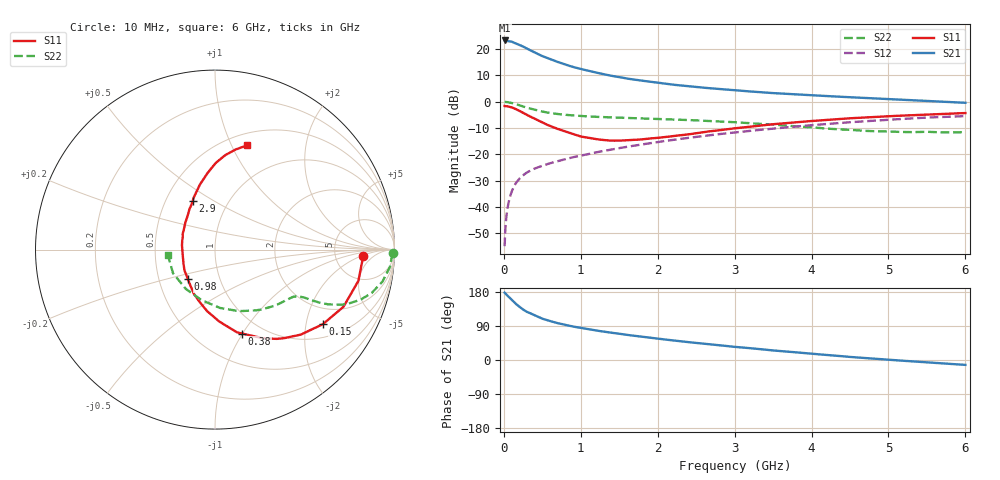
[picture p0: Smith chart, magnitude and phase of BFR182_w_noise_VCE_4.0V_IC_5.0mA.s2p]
! Infineon Technologies  Discrete & RF Semiconductors
! BFR182
! VCE =  4.0 V,  IC =  5.0 mA
! Common Emitter S-Parameters:  Nov 2015
# GHz  S  MA  R  50
!  f  S11  S21  S12  S22
! GHz  MAG  ANG  MAG  ANG  MAG  ANG  MAG  ANG
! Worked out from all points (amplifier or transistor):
!   210 points, 10 MHz to 6 GHz, reference 50 ohm
!   highest |S21| = 23.3 dB at 10 MHz (marker M1)
!   |S21| within 3 dB of that: start of sweep to 294.4 MHz
!   unconditionally stable (mu >= 1): 1.084 GHz to 2.835 GHz
!   at 185 MHz: K = 0.33, MSG = 25.8 dB, |S12| = -29.9 dB
!   at 1.52 GHz: K = 1.05, MAG = 12.0 dB, |S12| = -17.5 dB
!   at 6 GHz: K = 0.88, MSG = 2.5 dB, |S12| = -5.5 dB
!   lowest NFmin = 1.20 dB at 450 MHz
!   S11 on the Smith chart (normalised r, x): 10 MHz: 10, -2; 150 MHz: 1.41, -2.51; 380 MHz: 0.81, -1.00; 980 MHz: 0.70, -0.24; 2.9 GHz: 0.68, +0.41; 6 GHz: 0.62, +1.15
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0.01  0.8272 -2.5  14.55 177.7  0.0018 90.7  0.9905 -1.2
0.02  0.8222 -4.9  14.31 175.4  0.0039 82.2  0.9859 -2.4
0.04  0.8177 -9.8  14.22 171.3  0.0079 83.5  0.9811 -4.6
0.1  0.7835 -24.0  13.84 159.0  0.0193 78.4  0.9495 -10.9
0.15  0.7309 -34.6  12.88 148.9  0.0275 72.3  0.9056 -15.5
0.2  0.6733 -44.7  12.06 140.8  0.0341 68.6  0.8591 -18.9
0.26  0.6044 -55.4  10.96 132.0  0.041 65.1  0.8028 -22.0
0.3  0.5615 -61.6  10.2 127.0  0.0452 64.0  0.7677 -23.6
0.38  0.4916 -72.0  8.909 119.8  0.0519 61.7  0.715 -25.3
0.5  0.4009 -86.7  7.348 109.0  0.0606 59.8  0.6486 -27.0
0.6  0.3461 -97.2  6.442 102.7  0.0676 60.1  0.6088 -27.6
0.7  0.3043 -106.3  5.687 97.2  0.0741 60.2  0.5817 -28.0
0.8  0.2726 -115.6  5.053 92.6  0.0809 60.0  0.5625 -28.3
0.98  0.2224 -132.7  4.254 85.4  0.0931 61.2  0.5378 -29.1
1.02  0.2153 -136.9  4.115 84.0  0.0957 61.4  0.533 -29.3
1.4  0.1821 -172.1  3.098 72.0  0.123 62.4  0.5026 -32.3
2.02  0.2068 147.0  2.264 55.9  0.1729 61.2  0.4705 -39.4
2.9  0.2988 114.5  1.694 36.9  0.2509 56.0  0.4144 -54.3
3.1  0.323 110.4  1.605 33.0  0.2694 54.3  0.3981 -58.6
4.1  0.4396 94.2  1.302 14.9  0.367 44.6  0.3166 -88.6
5.1  0.5377 82.6  1.102 -0.7  0.4627 32.4  0.268 -131.4
6  0.6084 72.8  0.952 -12.9  0.5322 19.6  0.2644 -173.8
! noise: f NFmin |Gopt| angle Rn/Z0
0.45  1.2  0.27  37  0.3
0.9  1.3  0.25  75  0.23
1.8  1.9  0.21  145  0.2
